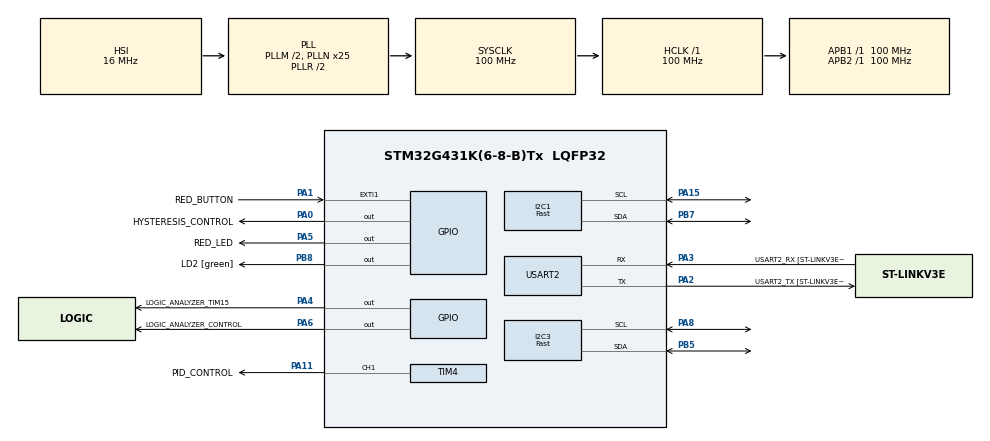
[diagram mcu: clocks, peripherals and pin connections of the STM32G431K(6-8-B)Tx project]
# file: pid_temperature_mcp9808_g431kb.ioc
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Dma.Request0=USART2_TX
Dma.Request1=TIM15_COM
Dma.Request2=TIM4_CH1
Dma.TIM15_COM.1.Direction=DMA_PERIPH_TO_MEMORY
Dma.TIM15_COM.1.EventEnable=DISABLE
Dma.TIM15_COM.1.Instance=DMA1_Channel2
Dma.TIM15_COM.1.MemDataAlignment=DMA_MDATAALIGN_HALFWORD
Dma.TIM15_COM.1.MemInc=DMA_MINC_ENABLE
Dma.TIM15_COM.1.Mode=DMA_NORMAL
Dma.TIM15_COM.1.PeriphDataAlignment=DMA_PDATAALIGN_HALFWORD
Dma.TIM15_COM.1.PeriphInc=DMA_PINC_DISABLE
Dma.TIM15_COM.1.Polarity=HAL_DMAMUX_REQ_GEN_RISING
Dma.TIM15_COM.1.Priority=DMA_PRIORITY_LOW
Dma.TIM15_COM.1.RequestNumber=1
Dma.TIM15_COM.1.SignalID=NONE
Dma.TIM15_COM.1.SyncEnable=DISABLE
Dma.TIM15_COM.1.SyncPolarity=HAL_DMAMUX_SYNC_NO_EVENT
Dma.TIM15_COM.1.SyncRequestNumber=1
Dma.TIM15_COM.1.SyncSignalID=NONE
Dma.TIM4_CH1.2.Direction=DMA_MEMORY_TO_PERIPH
Dma.TIM4_CH1.2.EventEnable=DISABLE
Dma.TIM4_CH1.2.Instance=DMA1_Channel3
Dma.TIM4_CH1.2.MemDataAlignment=DMA_MDATAALIGN_HALFWORD
Dma.TIM4_CH1.2.MemInc=DMA_MINC_ENABLE
Dma.TIM4_CH1.2.Mode=DMA_CIRCULAR
Dma.TIM4_CH1.2.PeriphDataAlignment=DMA_PDATAALIGN_HALFWORD
Dma.TIM4_CH1.2.PeriphInc=DMA_PINC_DISABLE
Dma.TIM4_CH1.2.Polarity=HAL_DMAMUX_REQ_GEN_RISING
Dma.TIM4_CH1.2.Priority=DMA_PRIORITY_LOW
Dma.TIM4_CH1.2.RequestNumber=1
Dma.TIM4_CH1.2.SignalID=NONE
Dma.TIM4_CH1.2.SyncEnable=DISABLE
Dma.TIM4_CH1.2.SyncPolarity=HAL_DMAMUX_SYNC_NO_EVENT
Dma.TIM4_CH1.2.SyncRequestNumber=1
Dma.TIM4_CH1.2.SyncSignalID=NONE
Dma.USART2_TX.0.Direction=DMA_MEMORY_TO_PERIPH
Dma.USART2_TX.0.EventEnable=DISABLE
Dma.USART2_TX.0.Instance=DMA1_Channel1
Dma.USART2_TX.0.MemDataAlignment=DMA_MDATAALIGN_BYTE
Dma.USART2_TX.0.MemInc=DMA_MINC_ENABLE
Dma.USART2_TX.0.Mode=DMA_NORMAL
Dma.USART2_TX.0.PeriphDataAlignment=DMA_PDATAALIGN_BYTE
Dma.USART2_TX.0.PeriphInc=DMA_PINC_DISABLE
Dma.USART2_TX.0.Polarity=HAL_DMAMUX_REQ_GEN_RISING
Dma.USART2_TX.0.Priority=DMA_PRIORITY_LOW
Dma.USART2_TX.0.RequestNumber=1
Dma.USART2_TX.0.SignalID=NONE
Dma.USART2_TX.0.SyncEnable=DISABLE
Dma.USART2_TX.0.SyncPolarity=HAL_DMAMUX_SYNC_NO_EVENT
Dma.USART2_TX.0.SyncRequestNumber=1
Dma.USART2_TX.0.SyncSignalID=NONE
I2C1.I2C_Speed_Mode=I2C_Fast
I2C1.Timing=0x10911A50
I2C3.I2C_Speed_Mode=I2C_Fast
I2C3.Timing=0x10911A50
Mcu.Family=STM32G4
Mcu.Name=STM32G431K(6-8-B)Tx
Mcu.Package=LQFP32
NVIC.DMA1_Channel1_IRQn=true\:0\:0\:false\:false\:true\:false\:true\:true
NVIC.DMA1_Channel2_IRQn=true\:0\:0\:false\:false\:true\:false\:true\:true
NVIC.DMA1_Channel3_IRQn=true\:0\:0\:false\:false\:true\:false\:true\:true
NVIC.EXTI1_IRQn=true\:0\:0\:false\:false\:true\:true\:true\:true
NVIC.PriorityGroup=NVIC_PRIORITYGROUP_4
NVIC.TIM1_BRK_TIM15_IRQn=true\:0\:0\:false\:false\:true\:true\:true\:true
NVIC.USART2_IRQn=true\:0\:0\:false\:false\:true\:true\:true\:true
PA0.GPIO_Label=HYSTERESIS_CONTROL
PA0.Signal=GPIO_Output
PA1.GPIO_Label=RED_BUTTON
PA1.GPIO_ModeDefaultEXTI=GPIO_MODE_IT_FALLING
PA1.GPIO_PuPd=GPIO_PULLUP
PA1.Signal=GPXTI1
PA11.GPIO_Label=PID_CONTROL
PA11.Signal=S_TIM4_CH1
PA13.GPIO_Label=T_SWDIO
PA13.Mode=Trace_Asynchronous_SW
PA13.Signal=SYS_JTMS-SWDIO
PA14.GPIO_Label=T_SWCLK
PA14.Mode=Trace_Asynchronous_SW
PA14.Signal=SYS_JTCK-SWCLK
PA15.Mode=I2C
PA15.Signal=I2C1_SCL
PA2.GPIO_Label=USART2_TX [ST-LINKV3E_VCP_RX]
PA2.Mode=Asynchronous
PA2.Signal=USART2_TX
PA3.GPIO_Label=USART2_RX [ST-LINKV3E_VCP_TX]
PA3.Mode=Asynchronous
PA3.Signal=USART2_RX
PA4.GPIO_Label=LOGIC_ANALYZER_TIM15
PA4.Signal=GPIO_Output
PA5.GPIO_Label=RED_LED
PA5.Signal=GPIO_Output
PA6.GPIO_Label=LOGIC_ANALYZER_CONTROL
PA6.Signal=GPIO_Output
PA8.Mode=I2C
PA8.Signal=I2C3_SCL
PB3.Mode=Trace_Asynchronous_SW
PB3.Signal=SYS_JTDO-SWO
PB5.Mode=I2C
PB5.Signal=I2C3_SDA
PB7.Mode=I2C
PB7.Signal=I2C1_SDA
PB8-BOOT0.GPIO_Label=LD2 [green]
PB8-BOOT0.Signal=GPIO_Output
ProjectManager.HeapSize=0x200
ProjectManager.StackSize=0x400
ProjectManager.TargetToolchain=STM32CubeIDE
RCC.ADC12Freq_Value=100000000
RCC.AHBFreq_Value=100000000
RCC.APB1Freq_Value=100000000
RCC.APB1TimFreq_Value=100000000
RCC.APB2Freq_Value=100000000
RCC.APB2TimFreq_Value=100000000
RCC.CortexFreq_Value=100000000
RCC.EXTERNAL_CLOCK_VALUE=12288000
RCC.HCLKFreq_Value=100000000
RCC.HSE_VALUE=8000000
RCC.HSI48_VALUE=48000000
RCC.HSI_VALUE=16000000
RCC.LSE_VALUE=32768
RCC.PLLM=RCC_PLLM_DIV2
RCC.PLLN=25
RCC.SYSCLKFreq_VALUE=100000000
RCC.SYSCLKSource=RCC_SYSCLKSOURCE_PLLCLK
RCC.USBFreq_Value=100000000
RCC.VCOOutputFreq_Value=200000000
SH.S_TIM4_CH1.0=TIM4_CH1,PWM Generation1 CH1
TIM15.PeriodNoDither=2000-1
TIM15.Prescaler=10000-1
TIM15.TIM_MasterOutputTrigger=TIM_TRGO_UPDATE
TIM4.Channel-PWM\ Generation1\ CH1=TIM_CHANNEL_1
TIM4.OCPolarity_1=TIM_OCPOLARITY_HIGH
TIM4.PeriodNoDither=1000-1
TIM4.Prescaler=100-1
USART2.VirtualMode-Asynchronous=VM_ASYNC
USART2.WordLength=WORDLENGTH_8B
VP_SYS_VS_DBSignals.Mode=DisableDeadBatterySignals
VP_TIM15_VS_ClockSourceINT.Mode=Internal
VP_TIM4_VS_ClockSourceINT.Mode=Internal
board=NUCLEO-G431KB

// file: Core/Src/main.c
/* USER CODE BEGIN Header */
/**
 ******************************************************************************
 * @file           : main.c
 * @brief          : Main program body
 ******************************************************************************
 * @attention
 *
 * Copyright (c) 2024 STMicroelectronics.
 * All rights reserved.
 *
 * This software is licensed under terms that can be found in the LICENSE file
 * in the root directory of this software component.
 * If no LICENSE file comes with this software, it is provided AS-IS.
 *
 ******************************************************************************
 */
/* USER CODE END Header */
#include "main.h"
#include "dma.h"
#include "i2c.h"
#include "tim.h"
#include "usart.h"
#include "gpio.h"

/* USER CODE BEGIN Includes */

#include <stdio.h>
#include <string.h>
#include "printf.h"  // https://embeddedartistry.com/blog/2019/11/06/an-embedded-friendly-printf-implementation/
#include "mcp9808.h" // https://embeddedespresso.com/temperature-measurement-never-so-easy-with-stm32-and-mcp9808/
#include "ssd1306.h" // https://github.com/afiskon/stm32-ssd1306

/* USER CODE END Includes */

/* USER CODE BEGIN PD */

#define UART_SEND_PERIOD 500
#define OLED_UPDATE_PERIOD 250
#define UART_BUS_POINTER (&huart2)
#define PWM_MIN 0
#define PWM_MAX 999
#define KP_PI_GAIN 500 // guessing and checking :)
#define KI_PI_GAIN 500
#define SAMPLE_TIME 0.2 //s
//#define USE_SPRINTF_INSIDE_INTERRUPT
//#define DONT_USE_DMA_INSIDE_INTERRUPT

/* USER CODE END PD */

/* USER CODE BEGIN PV */

uint8_t msgStr[64]; /* String where to store the OLED line and/or the serial port output */

static volatile float tempVal; // The static volatile modifiers were an attempt to solve the visibility problem in SWV Data Trace Timeline Graph. Didn't work. Area 51.
static volatile float tempLower;
static volatile float tempUpper;
static volatile float tempRef = 40.0;
static volatile float tempHysteresisWidth = 5.0;

volatile uint8_t redButtonFlag = 0;

uint32_t pwmDuty;

uint32_t uartSoftTimer;
uint32_t oledSoftTimer;

/* USER CODE END PV */

void SystemClock_Config(void);
/* USER CODE BEGIN PFP */
void ControlFeedbackLoop(void);

/* USER CODE END PFP */

/* USER CODE BEGIN 0 */

void ControlFeedbackLoop(void)
{
	HAL_GPIO_WritePin(LOGIC_ANALYZER_CONTROL_GPIO_Port,
	LOGIC_ANALYZER_CONTROL_Pin, GPIO_PIN_SET);

	tempVal = Mcp9808GetTemperature();

#ifdef USE_SPRINTF_INSIDE_INTERRUPT
	HAL_GPIO_WritePin(LOGIC_ANALYZER_CONTROL_GPIO_Port,
	LOGIC_ANALYZER_CONTROL_Pin, GPIO_PIN_RESET);

	sprintf((char*) msgStr, "Temperature is %.3f °C\r\n", tempVal);
	HAL_GPIO_WritePin(LOGIC_ANALYZER_CONTROL_GPIO_Port,
	LOGIC_ANALYZER_CONTROL_Pin, GPIO_PIN_SET);

#ifdef	DONT_USE_DMA_INSIDE_INTERRUPT
	HAL_UART_Transmit(&huart2, msgStr, strlen((char*) msgStr), 200u);
#else
	HAL_UART_Transmit_DMA(&huart2, msgStr, strlen((char*) msgStr));
#endif // DONT_USE_DMA_INSIDE_INTERRUPT
#endif // USE_SPRINTF_INSIDE_INTERRUPT

	tempLower = tempRef - tempHysteresisWidth / 2; // for STM32CubeMonitor
	tempUpper = tempRef + tempHysteresisWidth / 2; // for STM32CubeMonitor

	HAL_GPIO_WritePin(HYSTERESIS_CONTROL_GPIO_Port, HYSTERESIS_CONTROL_Pin,
			hysteresisCtrl(tempRef - tempVal, tempHysteresisWidth));

	HAL_GPIO_WritePin(RED_LED_GPIO_Port, RED_LED_Pin,
			HAL_GPIO_ReadPin(HYSTERESIS_CONTROL_GPIO_Port,
			HYSTERESIS_CONTROL_Pin));

	pwmDuty = piCtrl(tempRef - tempVal, SAMPLE_TIME, KP_PI_GAIN, KI_PI_GAIN,
	PWM_MIN, PWM_MAX); // both controllers are active - you can switch between them on the breadboard
	HAL_TIM_PWM_Start_DMA(&htim4, TIM_CHANNEL_1, &pwmDuty, 1);

	HAL_GPIO_WritePin(LOGIC_ANALYZER_CONTROL_GPIO_Port,
	LOGIC_ANALYZER_CONTROL_Pin, GPIO_PIN_RESET);

//	HAL_GPIO_TogglePin(RED_LED_GPIO_Port, RED_LED_Pin);
}

/* USER CODE END 0 */

int main(void)
{

	/* MCU Configuration--------------------------------------------------------*/

	/* Reset of all peripherals, Initializes the Flash interface and the Systick. */
	HAL_Init();

	/* Configure the system clock */
	SystemClock_Config();

	/* Initialize all configured peripherals */
	MX_GPIO_Init();
	MX_DMA_Init();
	MX_USART2_UART_Init();
	MX_I2C3_Init();
	MX_TIM15_Init();
	MX_TIM4_Init();
	MX_I2C1_Init();
	/* USER CODE BEGIN 2 */

	ssd1306_Init();
	ssd1306_Fill(Black);
	ssd1306_SetCursor(20, 0);
	ssd1306_WriteString("ufnalski.edu.pl", Font_6x8, White);
	ssd1306_SetCursor(22, 12);
	ssd1306_WriteString("MCP9808 sensor", Font_6x8, White);
	ssd1306_SetCursor(10, 24);
	ssd1306_WriteString("Temperature control", Font_6x8, White);
	ssd1306_SetCursor(10, 36);
	ssd1306_WriteString("(hysteresis vs. PI)", Font_6x8, White);
	ssd1306_UpdateScreen();

	Mcp9808SetResolution(2);

	HAL_TIM_Base_Start_IT(&htim15); // control loop interrupt

	uartSoftTimer = HAL_GetTick();
	oledSoftTimer = HAL_GetTick();
	/* USER CODE END 2 */

	/* Infinite loop */
	/* USER CODE BEGIN WHILE */
	while (1)
	{

#ifndef USE_SPRINTF_INSIDE_INTERRUPT
		if (HAL_GetTick() - uartSoftTimer > UART_SEND_PERIOD)
		{
			uartSoftTimer = HAL_GetTick();
			sprintf((char*) msgStr, "MCP9808 reading: %.3f °C\r\n", tempVal);
			HAL_UART_Transmit_DMA(UART_BUS_POINTER, msgStr,
					strlen((char*) msgStr));
		}
#endif

		if (HAL_GetTick() - oledSoftTimer > OLED_UPDATE_PERIOD)
		{
			oledSoftTimer = HAL_GetTick();
			sprintf((char*) msgStr, "T_plant = %.1f deg. C\r\n", tempVal);
			ssd1306_SetCursor(2, 52);
			ssd1306_WriteString((char*) msgStr, Font_6x8, White);
			ssd1306_UpdateScreen();
		}
		/* USER CODE END WHILE */

	}
}

void SystemClock_Config(void)
{
	RCC_OscInitTypeDef RCC_OscInitStruct =
	{ 0 };
	RCC_ClkInitTypeDef RCC_ClkInitStruct =
	{ 0 };

	/** Configure the main internal regulator output voltage
	 */
	HAL_PWREx_ControlVoltageScaling(PWR_REGULATOR_VOLTAGE_SCALE1);

	/** Initializes the RCC Oscillators according to the specified parameters
	 * in the RCC_OscInitTypeDef structure.
	 */
	RCC_OscInitStruct.OscillatorType = RCC_OSCILLATORTYPE_HSI;
	RCC_OscInitStruct.HSIState = RCC_HSI_ON;
	RCC_OscInitStruct.HSICalibrationValue = RCC_HSICALIBRATION_DEFAULT;
	RCC_OscInitStruct.PLL.PLLState = RCC_PLL_ON;
	RCC_OscInitStruct.PLL.PLLSource = RCC_PLLSOURCE_HSI;
	RCC_OscInitStruct.PLL.PLLM = RCC_PLLM_DIV2;
	RCC_OscInitStruct.PLL.PLLN = 25;
	RCC_OscInitStruct.PLL.PLLP = RCC_PLLP_DIV2;
	RCC_OscInitStruct.PLL.PLLQ = RCC_PLLQ_DIV2;
	RCC_OscInitStruct.PLL.PLLR = RCC_PLLR_DIV2;
	if (HAL_RCC_OscConfig(&RCC_OscInitStruct) != HAL_OK)
	{
		Error_Handler();
	}

	/** Initializes the CPU, AHB and APB buses clocks
	 */
	RCC_ClkInitStruct.ClockType = RCC_CLOCKTYPE_HCLK | RCC_CLOCKTYPE_SYSCLK
			| RCC_CLOCKTYPE_PCLK1 | RCC_CLOCKTYPE_PCLK2;
	RCC_ClkInitStruct.SYSCLKSource = RCC_SYSCLKSOURCE_PLLCLK;
	RCC_ClkInitStruct.AHBCLKDivider = RCC_SYSCLK_DIV1;
	RCC_ClkInitStruct.APB1CLKDivider = RCC_HCLK_DIV1;
	RCC_ClkInitStruct.APB2CLKDivider = RCC_HCLK_DIV1;

	if (HAL_RCC_ClockConfig(&RCC_ClkInitStruct, FLASH_LATENCY_3) != HAL_OK)
	{
		Error_Handler();
	}
}

/* USER CODE BEGIN 4 */

void HAL_TIM_PeriodElapsedCallback(TIM_HandleTypeDef *htim)
{
	if (htim->Instance == TIM15) // 5 Hz
	{
		HAL_GPIO_TogglePin(LOGIC_ANALYZER_TIM15_GPIO_Port,
		LOGIC_ANALYZER_TIM15_Pin);
		ControlFeedbackLoop();
	}
}

void HAL_GPIO_EXTI_Callback(uint16_t GPIO_Pin)
{
	if (GPIO_Pin == RED_BUTTON_Pin)
	{
		redButtonFlag = 1;
		HAL_GPIO_TogglePin(LD2_GPIO_Port, LD2_Pin);
	}
}
/* USER CODE END 4 */

void Error_Handler(void)
{
	__disable_irq();
	while (1)
	{
	}
}
